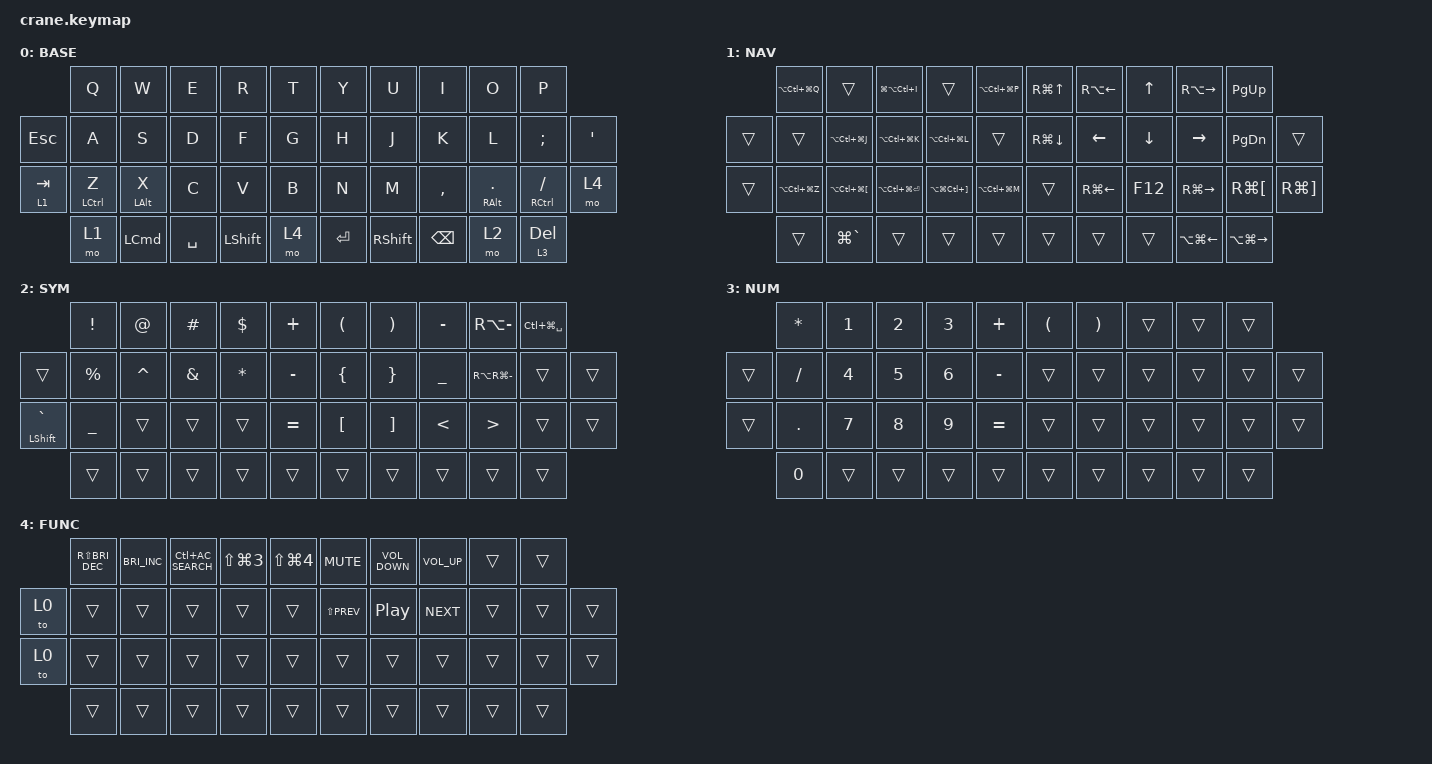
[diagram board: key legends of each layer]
/*
 * Copyright (c) 2020 The ZMK Contributors
 *
 * SPDX-License-Identifier: MIT
 */

#include <behaviors.dtsi>
#include <dt-bindings/zmk/keys.h>

#define BASE 0
#define NAV  1
#define SYM  2
#define ADJ  3
#define TVP1 4
#define TVP2 5

&mt {
    quick-tap-ms = <100>;
    global-quick-tap;
    flavor = "tap-preferred";
    tapping-term-ms = <200>;
};

/ {
    combos {
        compatible = "zmk,combos";

        Enter {
            bindings = <&kp ENTER>;
            key-positions = <17 18 19>;
        };
    };

    macros {
        gif: gif {
            label = "giphy";
            compatible = "zmk,behavior-macro";
            #binding-cells = <0>;
            bindings =
                <&macro_press>,
                <&kp LSHFT>,
                <&macro_tap>,
                <&kp N2>,
                <&macro_release>,
                <&kp LSHFT>,
                <&macro_tap>,
                <&kp G &kp I &kp F>;
        };
    };

    keymap {
        compatible = "zmk,keymap";

        // ▄▄▄▄▄▄▄▄▄▄▄▄▄▄▄▄▄▄▄▄▄▄▄▄▄▄▄▄▄▄▄▄▄▄▄▄▄▄▄▄▄▄▄▄▄▄▄▄▄▄▄▄▄▄▄▄▄▄▄▄▄▄▄▄▄▄▄▄▄▄▄▄▄▄▄▄▄▄▄▄▄▄▄▄▄▄▄▄▄▄▄▄▄▄▄▄▄▄▄▄▄▄▄▄▄▄▄▄▄▄▄▄▄▄▄▄▄▄▄▄▄▄▄▄▄▄▄▄▄▄▄▄▄▄▄▄▄▄▄▄▄▄▄▄▄▄▄▄▄

        base_layer {
            // ┏━━━━━━━━━━━━━━━━━━━━━━━━━━━━━━━━━━━━━━━┓

            label = "BASE";

            // ┗━━━━━━━━━━━━━━━━━━━━━━━━━━━━━━━━━━━━━━━┛

            bindings = <
           &kp Q               &kp W             &kp E      &kp R           &kp T    &kp Y      &kp U            &kp I          &kp O                 &kp P
&kp ESC    &kp A               &kp S             &kp D      &kp F           &kp G    &kp H      &kp J            &kp K          &kp L                 &kp SEMICOLON    &kp SQT
&lt 1 TAB  &mt LEFT_CONTROL Z  &mt LEFT_ALT X    &kp C      &kp V           &kp B    &kp N      &kp M            &kp COMMA      &mt RIGHT_ALT PERIOD  &mt RCTRL SLASH  &mo 4
           &mo 1               &kp LEFT_COMMAND  &kp SPACE  &kp LEFT_SHIFT  &mo 4    &kp ENTER  &kp RIGHT_SHIFT  &kp BACKSPACE  &mo 2                 &lt 3 DELETE
            >;
        };

        nav_layer {
            // ┏━━━━━━━━━━━━━━━━━━━━━━━━━━━━━━━━━━━━━━━┓

            label = "NAV";

            // ┗━━━━━━━━━━━━━━━━━━━━━━━━━━━━━━━━━━━━━━━┛

            bindings = <
        &kp LA(LC(LG(Q)))  &trans                        &kp LG(LA(LC(I)))      &trans                         &kp LA(LC(LG(P)))    &kp RG(UP_ARROW)    &kp RA(LEFT)  &kp UP_ARROW  &kp RA(RIGHT)     &kp PAGE_UP
&trans  &trans             &kp LA(LC(LG(J)))             &kp LA(LC(LG(K)))      &kp LA(LC(LG(L)))              &trans               &kp RG(DOWN_ARROW)  &kp LEFT      &kp DOWN      &kp RIGHT         &kp PAGE_DOWN         &trans
&trans  &kp LA(LC(LG(Z)))  &kp LA(LC(LG(LEFT_BRACKET)))  &kp LA(LC(LG(ENTER)))  &kp LA(LG(LC(RIGHT_BRACKET)))  &kp LA(LC(LG(M)))    &trans              &kp RG(LEFT)  &kp F12       &kp RG(RIGHT)     &kp RG(LEFT_BRACKET)  &kp RG(RIGHT_BRACKET)
        &trans             &kp LG(GRAVE)                 &trans                 &trans                         &trans               &trans              &trans        &trans        &kp LA(LG(LEFT))  &kp LA(LG(RIGHT))
            >;
        };

        symbol_layer {
            // ┏━━━━━━━━━━━━━━━━━━━━━━━━━━━━━━━━━━━━━━━┓

            label = "SYM";

            // ┗━━━━━━━━━━━━━━━━━━━━━━━━━━━━━━━━━━━━━━━┛

            bindings = <
                      &kp EXCLAMATION  &kp AT_SIGN  &kp HASH       &kp DOLLAR    &kp PLUS     &kp LEFT_PARENTHESIS  &kp RIGHT_PARENTHESIS  &kp MINUS      &kp RA(MINUS)      &kp LC(LG(SPACE))
&trans                &kp PERCENT      &kp CARET    &kp AMPERSAND  &kp ASTERISK  &kp MINUS    &kp LEFT_BRACE        &kp RIGHT_BRACE        &kp UNDER      &kp RA(RG(MINUS))  &trans             &trans
&mt LEFT_SHIFT GRAVE  &kp UNDERSCORE   &trans       &trans         &trans        &kp EQUAL    &kp LEFT_BRACKET      &kp RIGHT_BRACKET      &kp LESS_THAN  &kp GREATER_THAN   &trans             &trans
                      &trans           &trans       &trans         &trans        &trans       &trans                &trans                 &trans         &trans             &trans
            >;
        };

        num_layer {
            // ┏━━━━━━━━━━━━━━━━━━━━━━━━━━━━━━━━━━━━━━━┓

            label = "NUM";

            // ┗━━━━━━━━━━━━━━━━━━━━━━━━━━━━━━━━━━━━━━━┛

            bindings = <
        &kp ASTERISK  &kp NUMBER_1  &kp NUMBER_2  &kp NUMBER_3  &kp PLUS     &kp LEFT_PARENTHESIS  &kp RIGHT_PARENTHESIS  &trans  &trans  &trans
&trans  &kp SLASH     &kp NUMBER_4  &kp N5        &kp NUMBER_6  &kp MINUS    &trans                &trans                 &trans  &trans  &trans  &trans
&trans  &kp PERIOD    &kp N7        &kp N8        &kp N9        &kp EQUAL    &trans                &trans                 &trans  &trans  &trans  &trans
        &kp N0        &trans        &trans        &trans        &trans       &trans                &trans                 &trans  &trans  &trans
            >;
        };

        Functions_layer {
            // ┏━━━━━━━━━━━━━━━━━━━━━━━━━━━━━━━━━━━━━━━┓

            label = "FUNC";

            // ┗━━━━━━━━━━━━━━━━━━━━━━━━━━━━━━━━━━━━━━━┛

            bindings = <
       &kp RS(C_BRIGHTNESS_DEC)  &kp C_BRIGHTNESS_INC  &kp LC(C_AC_SEARCH)  &kp LS(LG(NUMBER_3))  &kp LS(LG(NUMBER_4))    &kp K_MUTE      &kp C_VOLUME_DOWN  &kp C_VOLUME_UP  &trans  &trans
&to 0  &trans                    &trans                &trans               &trans                &trans                  &kp LS(C_PREV)  &kp C_PLAY_PAUSE   &kp C_NEXT       &trans  &trans  &trans
&to 0  &trans                    &trans                &trans               &trans                &trans                  &trans          &trans             &trans           &trans  &trans  &trans
       &trans                    &trans                &trans               &trans                &trans                  &trans          &trans             &trans           &trans  &trans
            >;
        };

        // ▄▄▄▄▄▄▄▄▄▄▄▄▄▄▄▄▄▄▄▄▄▄▄▄▄▄▄▄▄▄▄▄▄▄▄▄▄▄▄▄▄▄▄▄▄▄▄▄▄▄▄▄▄▄▄▄▄▄▄▄▄▄▄▄▄▄▄▄▄▄▄▄▄▄▄▄▄▄▄▄▄▄▄▄▄▄▄▄▄▄▄▄▄▄▄▄▄▄▄▄▄▄▄▄▄▄▄▄▄▄▄▄▄▄▄▄▄▄▄▄▄▄▄▄▄▄▄▄▄▄▄▄▄▄▄▄▄▄▄▄▄▄▄▄▄▄▄▄▄
    };
};
